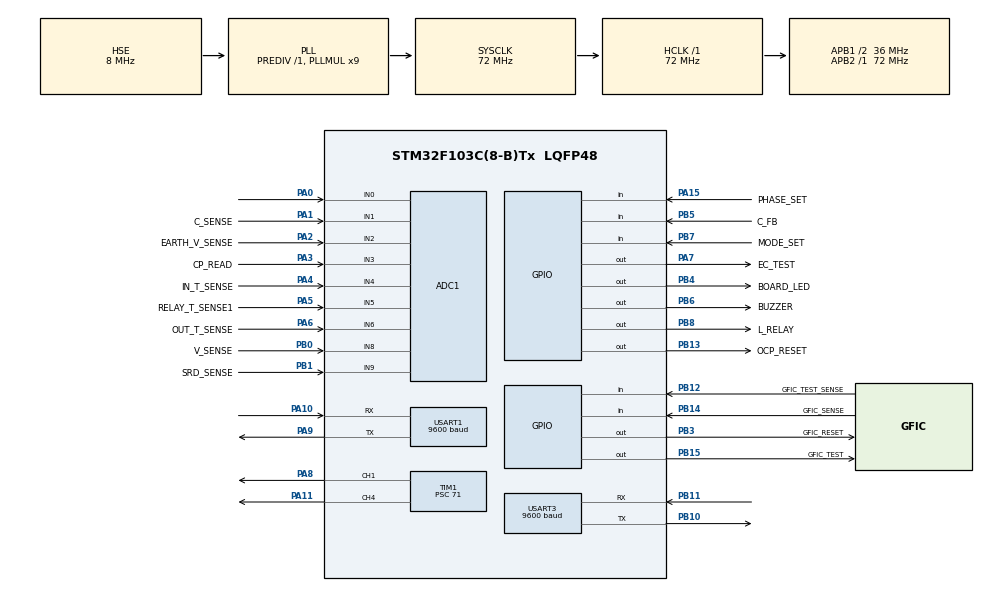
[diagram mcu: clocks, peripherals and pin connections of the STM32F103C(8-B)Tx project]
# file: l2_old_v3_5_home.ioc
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ADC1.Channel-10\#ChannelRegularConversion=ADC_CHANNEL_0
ADC1.Channel-12\#ChannelRegularConversion=ADC_CHANNEL_1
ADC1.Channel-13\#ChannelRegularConversion=ADC_CHANNEL_2
ADC1.Channel-14\#ChannelRegularConversion=ADC_CHANNEL_3
ADC1.Channel-15\#ChannelRegularConversion=ADC_CHANNEL_4
ADC1.Channel-16\#ChannelRegularConversion=ADC_CHANNEL_5
ADC1.Channel-17\#ChannelRegularConversion=ADC_CHANNEL_6
ADC1.Channel-18\#ChannelRegularConversion=ADC_CHANNEL_8
ADC1.Channel-19\#ChannelRegularConversion=ADC_CHANNEL_8
ADC1.Channel-20\#ChannelRegularConversion=ADC_CHANNEL_TEMPSENSOR
ADC1.Channel-21\#ChannelRegularConversion=ADC_CHANNEL_VREFINT
ADC1.ContinuousConvMode=ENABLE
ADC1.DataAlign=ADC_DATAALIGN_RIGHT
ADC1.EnableInjectedConversion=DISABLE
ADC1.ExternalTrigConv=ADC_SOFTWARE_START
ADC1.InjNumberOfConversion=1
ADC1.NbrOfConversion=11
ADC1.NbrOfConversionFlag=1
ADC1.Rank-10\#ChannelRegularConversion=1
ADC1.Rank-12\#ChannelRegularConversion=2
ADC1.Rank-13\#ChannelRegularConversion=3
ADC1.Rank-14\#ChannelRegularConversion=4
ADC1.Rank-15\#ChannelRegularConversion=5
ADC1.Rank-16\#ChannelRegularConversion=6
ADC1.Rank-17\#ChannelRegularConversion=7
ADC1.Rank-18\#ChannelRegularConversion=8
ADC1.Rank-19\#ChannelRegularConversion=9
ADC1.Rank-20\#ChannelRegularConversion=10
ADC1.Rank-21\#ChannelRegularConversion=11
ADC1.SamplingTime-10\#ChannelRegularConversion=ADC_SAMPLETIME_7CYCLES_5
ADC1.SamplingTime-12\#ChannelRegularConversion=ADC_SAMPLETIME_7CYCLES_5
ADC1.SamplingTime-13\#ChannelRegularConversion=ADC_SAMPLETIME_7CYCLES_5
ADC1.SamplingTime-14\#ChannelRegularConversion=ADC_SAMPLETIME_7CYCLES_5
ADC1.SamplingTime-15\#ChannelRegularConversion=ADC_SAMPLETIME_7CYCLES_5
ADC1.SamplingTime-16\#ChannelRegularConversion=ADC_SAMPLETIME_7CYCLES_5
ADC1.SamplingTime-17\#ChannelRegularConversion=ADC_SAMPLETIME_7CYCLES_5
ADC1.SamplingTime-18\#ChannelRegularConversion=ADC_SAMPLETIME_7CYCLES_5
ADC1.SamplingTime-19\#ChannelRegularConversion=ADC_SAMPLETIME_7CYCLES_5
ADC1.SamplingTime-20\#ChannelRegularConversion=ADC_SAMPLETIME_7CYCLES_5
ADC1.SamplingTime-21\#ChannelRegularConversion=ADC_SAMPLETIME_239CYCLES_5
ADC1.master=1
Dma.ADC1.0.Direction=DMA_PERIPH_TO_MEMORY
Dma.ADC1.0.Instance=DMA1_Channel1
Dma.ADC1.0.MemDataAlignment=DMA_MDATAALIGN_HALFWORD
Dma.ADC1.0.MemInc=DMA_MINC_ENABLE
Dma.ADC1.0.Mode=DMA_CIRCULAR
Dma.ADC1.0.PeriphDataAlignment=DMA_PDATAALIGN_HALFWORD
Dma.ADC1.0.PeriphInc=DMA_PINC_DISABLE
Dma.ADC1.0.Priority=DMA_PRIORITY_VERY_HIGH
Dma.Request0=ADC1
Dma.Request1=USART1_TX
Dma.USART1_TX.1.Direction=DMA_MEMORY_TO_PERIPH
Dma.USART1_TX.1.Instance=DMA1_Channel4
Dma.USART1_TX.1.MemDataAlignment=DMA_MDATAALIGN_BYTE
Dma.USART1_TX.1.MemInc=DMA_MINC_ENABLE
Dma.USART1_TX.1.Mode=DMA_NORMAL
Dma.USART1_TX.1.PeriphDataAlignment=DMA_PDATAALIGN_BYTE
Dma.USART1_TX.1.PeriphInc=DMA_PINC_DISABLE
Dma.USART1_TX.1.Priority=DMA_PRIORITY_MEDIUM
IWDG.Prescaler=IWDG_PRESCALER_64
IWDG.Reload=4094
Mcu.Family=STM32F1
Mcu.Name=STM32F103C(8-B)Tx
Mcu.Package=LQFP48
NVIC.ADC1_2_IRQn=true\:0\:0\:false\:false\:true\:true\:true\:true
NVIC.DMA1_Channel1_IRQn=true\:1\:0\:true\:false\:true\:false\:true\:true
NVIC.DMA1_Channel4_IRQn=true\:0\:0\:false\:false\:true\:false\:true\:true
NVIC.PriorityGroup=NVIC_PRIORITYGROUP_4
NVIC.TIM3_IRQn=true\:1\:0\:true\:false\:true\:true\:true\:true
NVIC.USART1_IRQn=true\:0\:0\:false\:false\:true\:true\:true\:true
NVIC.USART3_IRQn=true\:0\:0\:false\:false\:true\:true\:true\:true
PA0-WKUP.Signal=ADCx_IN0
PA1.GPIO_Label=C_SENSE
PA1.Signal=ADCx_IN1
PA10.Mode=Asynchronous
PA10.Signal=USART1_RX
PA11.Signal=S_TIM1_CH4
PA13.Mode=Serial_Wire
PA13.Signal=SYS_JTMS-SWDIO
PA14.Mode=Serial_Wire
PA14.Signal=SYS_JTCK-SWCLK
PA15.GPIO_Label=PHASE_SET
PA15.Signal=GPIO_Input
PA2.GPIO_Label=EARTH_V_SENSE
PA2.Signal=ADCx_IN2
PA3.GPIO_Label=CP_READ
PA3.Signal=ADCx_IN3
PA4.GPIO_Label=IN_T_SENSE
PA4.Signal=ADCx_IN4
PA5.GPIO_Label=RELAY_T_SENSE1
PA5.Signal=ADCx_IN5
PA6.GPIO_Label=OUT_T_SENSE
PA6.Signal=ADCx_IN6
PA7.GPIO_Label=EC_TEST
PA7.Signal=GPIO_Output
PA8.Signal=S_TIM1_CH1
PA9.Mode=Asynchronous
PA9.Signal=USART1_TX
PB0.GPIO_Label=V_SENSE
PB0.Signal=ADCx_IN8
PB1.GPIO_Label=SRD_SENSE
PB1.Signal=ADCx_IN9
PB10.Mode=Asynchronous
PB10.Signal=USART3_TX
PB11.Mode=Asynchronous
PB11.Signal=USART3_RX
PB12.GPIO_Label=GFIC_TEST_SENSE
PB12.Signal=GPIO_Input
PB13.GPIO_Label=OCP_RESET
PB13.Signal=GPIO_Output
PB14.GPIO_Label=GFIC_SENSE
PB14.Signal=GPIO_Input
PB15.GPIO_Label=GFIC_TEST
PB15.Signal=GPIO_Output
PB3.GPIO_Label=GFIC_RESET
PB3.Signal=GPIO_Output
PB4.GPIO_Label=BOARD_LED
PB4.Signal=GPIO_Output
PB5.GPIO_Label=C_FB
PB5.Signal=GPIO_Input
PB6.GPIO_Label=BUZZER
PB6.Signal=GPIO_Output
PB7.GPIO_Label=MODE_SET
PB7.Signal=GPIO_Input
PB8.GPIO_Label=L_RELAY
PB8.Signal=GPIO_Output
PD0-OSC_IN.Mode=HSE-External-Oscillator
PD0-OSC_IN.Signal=RCC_OSC_IN
PD1-OSC_OUT.Mode=HSE-External-Oscillator
PD1-OSC_OUT.Signal=RCC_OSC_OUT
ProjectManager.HeapSize=0x200
ProjectManager.StackSize=0x400
ProjectManager.TargetToolchain=STM32CubeIDE
RCC.ADCPresc=RCC_ADCPCLK2_DIV6
RCC.AHBFreq_Value=72000000
RCC.APB1CLKDivider=RCC_HCLK_DIV2
RCC.APB1Freq_Value=36000000
RCC.APB1TimFreq_Value=72000000
RCC.APB2Freq_Value=72000000
RCC.APB2TimFreq_Value=72000000
RCC.HCLKFreq_Value=72000000
RCC.HSE_Timout=5000
RCC.HSICalibrationValue=24
RCC.PLLMUL=RCC_PLL_MUL9
RCC.PLLSourceVirtual=RCC_PLLSOURCE_HSE
RCC.SYSCLKFreq_VALUE=72000000
RCC.SYSCLKSource=RCC_SYSCLKSOURCE_PLLCLK
RCC.USBFreq_Value=72000000
SH.ADCx_IN0.0=ADC1_IN0,IN0
SH.ADCx_IN1.0=ADC1_IN1,IN1
SH.ADCx_IN2.0=ADC1_IN2,IN2
SH.ADCx_IN3.0=ADC1_IN3,IN3
SH.ADCx_IN4.0=ADC1_IN4,IN4
SH.ADCx_IN5.0=ADC1_IN5,IN5
SH.ADCx_IN6.0=ADC1_IN6,IN6
SH.ADCx_IN8.0=ADC1_IN8,IN8
SH.ADCx_IN9.0=ADC1_IN9,IN9
SH.S_TIM1_CH1.0=TIM1_CH1,PWM Generation1 CH1
SH.S_TIM1_CH4.0=TIM1_CH4,PWM Generation4 CH4
TIM1.AutoReloadPreload=TIM_AUTORELOAD_PRELOAD_ENABLE
TIM1.Channel-PWM\ Generation1\ CH1=TIM_CHANNEL_1
TIM1.Channel-PWM\ Generation4\ CH4=TIM_CHANNEL_4
TIM1.Period=999
TIM1.Prescaler=71
TIM3.AutoReloadPreload=TIM_AUTORELOAD_PRELOAD_ENABLE
TIM3.Period=71
TIM3.Prescaler=500
USART1.BaudRate=9600
USART1.Parity=PARITY_EVEN
USART1.VirtualMode=VM_ASYNC
USART1.WordLength=WORDLENGTH_9B
USART3.BaudRate=9600
USART3.VirtualMode=VM_ASYNC
VP_ADC1_TempSens_Input.Mode=IN-TempSens
VP_ADC1_Vref_Input.Mode=IN-Vrefint
VP_IWDG_VS_IWDG.Mode=IWDG_Activate
VP_RTC_VS_RTC_Activate.Mode=RTC_Enabled
VP_RTC_VS_RTC_Calendar.Mode=RTC_Calendar
VP_TIM3_VS_ClockSourceINT.Mode=Internal
board=custom

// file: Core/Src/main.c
/* USER CODE BEGIN Header */
/**
 ******************************************************************************
 * @file           : main.c
 * @brief          : Main program body
 ******************************************************************************
 * @attention
 *
 * Copyright (c) 2022 STMicroelectronics.
 * All rights reserved.
 *
 * This software is licensed under terms that can be found in the LICENSE file
 * in the root directory of this software component.
 * If no LICENSE file comes with this software, it is provided AS-IS.
 *
 ******************************************************************************
 */
/* USER CODE END Header */
#include "main.h"

/* USER CODE BEGIN Includes */
#include "stdio.h"
#include "math.h"
/* USER CODE END Includes */

ADC_HandleTypeDef hadc1;
DMA_HandleTypeDef hdma_adc1;

IWDG_HandleTypeDef hiwdg;

RTC_HandleTypeDef hrtc;

TIM_HandleTypeDef htim1;
TIM_HandleTypeDef htim3;

UART_HandleTypeDef huart1;
UART_HandleTypeDef huart3;
DMA_HandleTypeDef hdma_usart1_tx;

/* USER CODE BEGIN PV */
uint16_t debug_count = 0;
bool watchdog_active = false;
/* USER CODE END PV */

void SystemClock_Config(void);
static void MX_GPIO_Init(void);
static void MX_DMA_Init(void);
static void MX_ADC1_Init(void);
static void MX_TIM1_Init(void);
static void MX_TIM3_Init(void);
static void MX_USART1_UART_Init(void);
static void MX_IWDG_Init(void);
static void MX_USART3_UART_Init(void);
static void MX_RTC_Init(void);
/* USER CODE BEGIN PFP */
void voltage_measure();
void voltage_l1(void);
void adc_calibret(void);
void run_led(void);
void SetRTC(void);

void transmitSerial(void);
bool cp_calibrate = false;

volatile char serialRxPort1 = 0;
static volatile int32_t serialPort1TxCount = 0;
static volatile uint32_t serialPort1RxCount = 0;

volatile char serialRxPort2 = 0;
static volatile int32_t serialPort2TxCount = 0;
static volatile uint32_t serialPort2RxCount = 0;

/* USER CODE END PFP */

int main(void)
{

	/* MCU Configuration--------------------------------------------------------*/

	/* Reset of all peripherals, Initializes the Flash interface and the Systick. */
	HAL_Init();

	/* Configure the system clock */
	SystemClock_Config();

	/* Initialize all configured peripherals */
	MX_GPIO_Init();
	MX_DMA_Init();
	MX_ADC1_Init();
	MX_TIM1_Init();
	MX_TIM3_Init();
	MX_USART1_UART_Init();
//  MX_IWDG_Init();
	MX_USART3_UART_Init();
//  MX_RTC_Init();
	/* USER CODE BEGIN 2 */

	/*---------------------------------------------------
	 Initialization function
	 ---------------------------------------------------*/
	HAL_TIM_Base_Start_IT(&htim3);
	HAL_TIM_PWM_Start(&htim1, TIM_CHANNEL_1);
	HAL_TIM_PWM_Start(&htim1, TIM_CHANNEL_4);
	HAL_ADCEx_Calibration_Start(&hadc1);
	HAL_ADC_Start_DMA(&hadc1, (uint32_t*) adc_store, 11);
	HAL_UART_Receive_IT(&huart1, (uint8_t*) &serialRxPort2, 1);

#if RTC_ACTIVE
	MX_RTC_Init();
	initRTC();
#endif

	init_dataStructures();

	/*---------------------------------------------------
	 Get HW version
	 ---------------------------------------------------*/
	get_HWVersion();

	/*---------------------------------------------------
	 calibrate CP values
	 ---------------------------------------------------*/
	calibrateCP(0);
//	cp_map(1);
	cp_calibrate = true;

	/*---------------------------------------------------
	 Reset GFI sensor
	 ---------------------------------------------------*/
	GFIC_RESET_ON();
	HAL_Delay(100);
	GFIC_RESET_OFF();

	buzzer_en = true;
	run_GFITest = true;
	/* USER CODE END 2 */

	/* Infinite loop */
	/* USER CODE BEGIN WHILE */
	/*---------------------------------------------------
	 Initialize serial peripheral and Modbus peripheral
	 ---------------------------------------------------*/
	CSMS_Init();
	ModbusRTU_Init();

	tick_clear(&timeout);
	tick_clear(&gfi_test);
	tick_clear(&rtc_checkCounter);
	tick_clear(&rtc_updateCounter);
	tick_clear(&load_balance6s);
	tick_clear(&error_handler);
	/* USER CODE END 2 */

	/* Infinite loop */
	/* USER CODE BEGIN WHILE */
	while (1)
	{
		/*---------------------------------------------------
		 Charger init check
		 ---------------------------------------------------*/
		if (charger_init_flag == false)
		{
			/*---------------------------------------------------
			 Vehicle check functions
			 ---------------------------------------------------*/
			bootup_vehicleCheck();

			if ((networkSide_bootup == true)		//Serial check
					&& (bootup_timeUpdate == true)			//RTC check
					&& ((timeout.timeout_30s == true) || (emeter_bootup == true)))//Modbus check
			{
				charger_init_flag = true;
			}
		}

		if (charger_setup_flag == false)
		{
			get_chargerConfig();
			charger_setup_flag = true;
		}

		if (charger_configSet.config_enable == true)
		{
			set_chargerConfig();
			charger_configSet.config_enable = false;
			HAL_Delay(100);
			HAL_NVIC_SystemReset();
		}

		if (charger_configSet.config_counter == 10)
		{

		}

		/*---------------------------------------------------
		 Vehicle connector function
		 ---------------------------------------------------*/
		check_vehicleConnector();
		check_PWMActive();

		/*---------------------------------------------------
		 Power side monitoring functions
		 ---------------------------------------------------*/
		//		gfci_sense();
		if (gfic_test_run && (!stuck_relay_test))
		{
			//			GFCI_test();
		}
		else
		{
			if ((powerSide_data.errorStatus.bit.error_SR_C == 1)
					|| (powerSide_data.errorStatus.bit.error_GFI_test == 1))
			{
				powerSide_data.status.bit.powerSide_ready = 0;
			}
			else
			{
				powerSide_data.status.bit.powerSide_ready = 1;
			}

			if (controlSide_data.networkSide_request.bit.vehicle_Check == 1)
			{
				powerSide_data.status.bit.powerSide_ready = 1; //when the power restore
			}
		}

		/*---------------------------------------------------
		 Diode check function
		 ---------------------------------------------------*/
#if DIODE_CHECK
		if (timeout.timeout_0_5s == true)
		{
			diodeCheck();
		}
#else
		diodeCheck_passed = true;
#endif
		/*---------------------------------------------------
		 Error logger
		 ---------------------------------------------------*/
		errorBuffer_log();
		errorBuffer_report();

		/*---------------------------------------------------
		 Energy meter reading functions
		 ---------------------------------------------------*/
		ModbusRTU_functions();
		get_EnergyMeterData();

		/*---------------------------------------------------
		 Serial CRC calculation and filter functions
		 ---------------------------------------------------*/
#if SERIAL_ACTIVE
		if (charger_init_flag == true)
		{
			CSMS_functions();
		}

		transmitSerial();
#endif
		/*---------------------------------------------------
		 RTC functions
		 ---------------------------------------------------*/
#if RTC_ACTIVE
		//---------------------------------------------------- Update time at boot up
		if ((bootup_timeUpdate == false)
		/*&& (networkSide_data.timeReady == 1)*/)
		{
			bootup_timeUpdate = true;
			get_date();
			HAL_RTC_GetTime(&hrtc, &RtcTime, RTC_FORMAT_BIN);
			HAL_RTC_GetDate(&hrtc, &RtcDate, RTC_FORMAT_BIN);

			uint32_t unix_time_set = RTC_ToEpoch(&RtcTime, &RtcDate);
			HAL_RTCEx_BKUPWrite(&hrtc, RTC_BKP_DR1, (unix_time_set & 0xFFFF));
			HAL_RTCEx_BKUPWrite(&hrtc, RTC_BKP_DR2, (unix_time_set >> 16));
		}

		//---------------------------------------------------- Update alarms
		if (networkSide_data.alarmUpdate == 1)
		{
			updateAlarm();
		}
		//---------------------------------------------------- Alarm check
		if (rtc_checkCounter.timeout_10s == true)
		{
			tick_clear(&rtc_checkCounter);
			if ((networkSide_data.isInternet_available == 1)
					&& (networkSide_data.timeReady == 1))
			{
//				RtcTime.Hours = networkSide_data.setTime.Hours;
//				RtcTime.Minutes = networkSide_data.setTime.Minutes;
//				RtcDate.Date = networkSide_data.setDate.Date;
//				RtcDate.Month = networkSide_data.setDate.Month;
//				RtcDate.Year = networkSide_data.setDate.Year;
				updateRTC();
				updateAlarm();
			}
			else
			{
				HAL_RTC_GetTime(&hrtc, &RtcTime, RTC_FORMAT_BIN);
				HAL_RTC_GetDate(&hrtc, &RtcDate, RTC_FORMAT_BIN);

				uint32_t unix_time_set = RTC_ToEpoch(&RtcTime, &RtcDate);
				HAL_RTCEx_BKUPWrite(&hrtc, RTC_BKP_DR1,
						(unix_time_set & 0xFFFF));
				HAL_RTCEx_BKUPWrite(&hrtc, RTC_BKP_DR2, (unix_time_set >> 16));

				updateAlarm();
			}

			checkWeekday_Time();

			if (controlSide_data.networkSide_request.bit.rtcUpdateComplete
					== true)
			{
				controlSide_data.networkSide_request.bit.rtcUpdateComplete =
				false;
			}
			if (controlSide_data.networkSide_request.bit.rtcUpdateAlarmComplete
					== true)
			{
				controlSide_data.networkSide_request.bit.rtcUpdateAlarmComplete =
				false;
			}
		}
#else
		bootup_timeUpdate = true;
#endif

		/*---------------------------------------------------
		 Debug LED run function - added to debug serial error
		 ---------------------------------------------------*/
		debug_count++;
		if (debug_count >= 6000)
		{
			debug_count = 0;
			HAL_GPIO_TogglePin(BOARD_LED_GPIO_Port, BOARD_LED_Pin);
			temperature_NTC();
		}

		/*---------------------------------------------------
		 Energy meter reading functions
		 ---------------------------------------------------*/
		get_EnergyMeterData();

		/*---------------------------------------------------
		 Energy calculation functions
		 ---------------------------------------------------*/
		calculate_Energy();

		/*---------------------------------------------------
		 Watchdog function
		 ---------------------------------------------------*/
#if WATCHDOG_ENABLE
		if (watchdog_active == false)
		{
			watchdog_active = true;
			MX_IWDG_Init();
		}

		HAL_IWDG_Refresh(&hiwdg);
#endif
		/*---------------------------------------------------
		 Buzzer function
		 ---------------------------------------------------*/
		if (buzzer_en == true)
		{
			buzzer_en = false;
			buzzer_on();
		}
#if ERROR_ALARM
		errorAlarm_set();
		errorAlarm_sound();
#endif

		/*---------------------------------------------------
		 OTA Update
		 ---------------------------------------------------*/
		if (OTA_flag == true)
		{
			OTA_flag = false;
			Flag_up();
		}

		/* USER CODE END WHILE */

	}
}

void SystemClock_Config(void)
{
	RCC_OscInitTypeDef RCC_OscInitStruct =
	{ 0 };
	RCC_ClkInitTypeDef RCC_ClkInitStruct =
	{ 0 };
	RCC_PeriphCLKInitTypeDef PeriphClkInit =
	{ 0 };

	/** Initializes the RCC Oscillators according to the specified parameters
	 * in the RCC_OscInitTypeDef structure.
	 */
	RCC_OscInitStruct.OscillatorType = RCC_OSCILLATORTYPE_LSI
			| RCC_OSCILLATORTYPE_HSE;
	RCC_OscInitStruct.HSEState = RCC_HSE_ON;
	RCC_OscInitStruct.HSEPredivValue = RCC_HSE_PREDIV_DIV1;
	RCC_OscInitStruct.HSIState = RCC_HSI_ON;
	RCC_OscInitStruct.LSIState = RCC_LSI_ON;
	RCC_OscInitStruct.PLL.PLLState = RCC_PLL_ON;
	RCC_OscInitStruct.PLL.PLLSource = RCC_PLLSOURCE_HSE;
	RCC_OscInitStruct.PLL.PLLMUL = RCC_PLL_MUL9;
	if (HAL_RCC_OscConfig(&RCC_OscInitStruct) != HAL_OK)
	{
		Error_Handler();
	}

	/** Initializes the CPU, AHB and APB buses clocks
	 */
	RCC_ClkInitStruct.ClockType = RCC_CLOCKTYPE_HCLK | RCC_CLOCKTYPE_SYSCLK
			| RCC_CLOCKTYPE_PCLK1 | RCC_CLOCKTYPE_PCLK2;
	RCC_ClkInitStruct.SYSCLKSource = RCC_SYSCLKSOURCE_PLLCLK;
	RCC_ClkInitStruct.AHBCLKDivider = RCC_SYSCLK_DIV1;
	RCC_ClkInitStruct.APB1CLKDivider = RCC_HCLK_DIV2;
	RCC_ClkInitStruct.APB2CLKDivider = RCC_HCLK_DIV1;

	if (HAL_RCC_ClockConfig(&RCC_ClkInitStruct, FLASH_LATENCY_2) != HAL_OK)
	{
		Error_Handler();
	}
	PeriphClkInit.PeriphClockSelection = RCC_PERIPHCLK_RTC | RCC_PERIPHCLK_ADC;
	PeriphClkInit.RTCClockSelection = RCC_RTCCLKSOURCE_LSI;
	PeriphClkInit.AdcClockSelection = RCC_ADCPCLK2_DIV6;
	if (HAL_RCCEx_PeriphCLKConfig(&PeriphClkInit) != HAL_OK)
	{
		Error_Handler();
	}
}

static void MX_ADC1_Init(void)
{

	ADC_ChannelConfTypeDef sConfig =
	{ 0 };

	/** Common config
	 */
	hadc1.Instance = ADC1;
	hadc1.Init.ScanConvMode = ADC_SCAN_ENABLE;
	hadc1.Init.ContinuousConvMode = ENABLE;
	hadc1.Init.DiscontinuousConvMode = DISABLE;
	hadc1.Init.ExternalTrigConv = ADC_SOFTWARE_START;
	hadc1.Init.DataAlign = ADC_DATAALIGN_RIGHT;
	hadc1.Init.NbrOfConversion = 11;
	if (HAL_ADC_Init(&hadc1) != HAL_OK)
	{
		Error_Handler();
	}

	/** Configure Regular Channel
	 */
	sConfig.Channel = ADC_CHANNEL_0;
	sConfig.Rank = ADC_REGULAR_RANK_1;
	sConfig.SamplingTime = ADC_SAMPLETIME_7CYCLES_5;
	if (HAL_ADC_ConfigChannel(&hadc1, &sConfig) != HAL_OK)
	{
		Error_Handler();
	}

	/** Configure Regular Channel
	 */
	sConfig.Channel = ADC_CHANNEL_1;
	sConfig.Rank = ADC_REGULAR_RANK_2;
	if (HAL_ADC_ConfigChannel(&hadc1, &sConfig) != HAL_OK)
	{
		Error_Handler();
	}

	/** Configure Regular Channel
	 */
	sConfig.Channel = ADC_CHANNEL_2;
	sConfig.Rank = ADC_REGULAR_RANK_3;
	if (HAL_ADC_ConfigChannel(&hadc1, &sConfig) != HAL_OK)
	{
		Error_Handler();
	}

	/** Configure Regular Channel
	 */
	sConfig.Channel = ADC_CHANNEL_3;
	sConfig.Rank = ADC_REGULAR_RANK_4;
	if (HAL_ADC_ConfigChannel(&hadc1, &sConfig) != HAL_OK)
	{
		Error_Handler();
	}

	/** Configure Regular Channel
	 */
	sConfig.Channel = ADC_CHANNEL_4;
	sConfig.Rank = ADC_REGULAR_RANK_5;
	if (HAL_ADC_ConfigChannel(&hadc1, &sConfig) != HAL_OK)
	{
		Error_Handler();
	}

	/** Configure Regular Channel
	 */
	sConfig.Channel = ADC_CHANNEL_5;
	sConfig.Rank = ADC_REGULAR_RANK_6;
	if (HAL_ADC_ConfigChannel(&hadc1, &sConfig) != HAL_OK)
	{
		Error_Handler();
	}

	/** Configure Regular Channel
	 */
	sConfig.Channel = ADC_CHANNEL_6;
	sConfig.Rank = ADC_REGULAR_RANK_7;
	if (HAL_ADC_ConfigChannel(&hadc1, &sConfig) != HAL_OK)
	{
		Error_Handler();
	}

	/** Configure Regular Channel
	 */
	sConfig.Channel = ADC_CHANNEL_8;
	sConfig.Rank = ADC_REGULAR_RANK_8;
	if (HAL_ADC_ConfigChannel(&hadc1, &sConfig) != HAL_OK)
	{
		Error_Handler();
	}

	/** Configure Regular Channel
	 */
	sConfig.Rank = ADC_REGULAR_RANK_9;
	if (HAL_ADC_ConfigChannel(&hadc1, &sConfig) != HAL_OK)
	{
		Error_Handler();
	}

	/** Configure Regular Channel
	 */
	sConfig.Channel = ADC_CHANNEL_TEMPSENSOR;
	sConfig.Rank = ADC_REGULAR_RANK_10;
	if (HAL_ADC_ConfigChannel(&hadc1, &sConfig) != HAL_OK)
	{
		Error_Handler();
	}

	/** Configure Regular Channel
	 */
	sConfig.Channel = ADC_CHANNEL_VREFINT;
	sConfig.Rank = ADC_REGULAR_RANK_11;
	sConfig.SamplingTime = ADC_SAMPLETIME_239CYCLES_5;
	if (HAL_ADC_ConfigChannel(&hadc1, &sConfig) != HAL_OK)
	{
		Error_Handler();
	}

}

static void MX_IWDG_Init(void)
{

	hiwdg.Instance = IWDG;
	hiwdg.Init.Prescaler = IWDG_PRESCALER_64;
	hiwdg.Init.Reload = 4094;
	if (HAL_IWDG_Init(&hiwdg) != HAL_OK)
	{
		Error_Handler();
	}

}

static void MX_RTC_Init(void)
{

	RTC_TimeTypeDef sTime =
	{ 0 };
	RTC_DateTypeDef DateToUpdate =
	{ 0 };

	/** Initialize RTC Only
	 */
	hrtc.Instance = RTC;
	hrtc.Init.AsynchPrediv = RTC_AUTO_1_SECOND;
	hrtc.Init.OutPut = RTC_OUTPUTSOURCE_ALARM;
	if (HAL_RTC_Init(&hrtc) != HAL_OK)
	{
		Error_Handler();
	}

	/** Initialize RTC and set the Time and Date
	 */
	sTime.Hours = 0x0;
	sTime.Minutes = 0x0;
	sTime.Seconds = 0x0;

	if (HAL_RTC_SetTime(&hrtc, &sTime, RTC_FORMAT_BCD) != HAL_OK)
	{
		Error_Handler();
	}
	DateToUpdate.WeekDay = RTC_WEEKDAY_MONDAY;
	DateToUpdate.Month = RTC_MONTH_JANUARY;
	DateToUpdate.Date = 0x1;
	DateToUpdate.Year = 0x0;

	if (HAL_RTC_SetDate(&hrtc, &DateToUpdate, RTC_FORMAT_BCD) != HAL_OK)
	{
		Error_Handler();
	}

}

static void MX_TIM1_Init(void)
{

	TIM_MasterConfigTypeDef sMasterConfig =
	{ 0 };
	TIM_OC_InitTypeDef sConfigOC =
	{ 0 };
	TIM_BreakDeadTimeConfigTypeDef sBreakDeadTimeConfig =
	{ 0 };

	htim1.Instance = TIM1;
	htim1.Init.Prescaler = 71;
	htim1.Init.CounterMode = TIM_COUNTERMODE_UP;
	htim1.Init.Period = 999;
	htim1.Init.ClockDivision = TIM_CLOCKDIVISION_DIV1;
	htim1.Init.RepetitionCounter = 0;
	htim1.Init.AutoReloadPreload = TIM_AUTORELOAD_PRELOAD_ENABLE;
	if (HAL_TIM_PWM_Init(&htim1) != HAL_OK)
	{
		Error_Handler();
	}
	sMasterConfig.MasterOutputTrigger = TIM_TRGO_RESET;
	sMasterConfig.MasterSlaveMode = TIM_MASTERSLAVEMODE_DISABLE;
	if (HAL_TIMEx_MasterConfigSynchronization(&htim1, &sMasterConfig) != HAL_OK)
	{
		Error_Handler();
	}
	sConfigOC.OCMode = TIM_OCMODE_PWM1;
	sConfigOC.Pulse = 0;
	sConfigOC.OCPolarity = TIM_OCPOLARITY_HIGH;
	sConfigOC.OCNPolarity = TIM_OCNPOLARITY_HIGH;
	sConfigOC.OCFastMode = TIM_OCFAST_DISABLE;
	sConfigOC.OCIdleState = TIM_OCIDLESTATE_RESET;
	sConfigOC.OCNIdleState = TIM_OCNIDLESTATE_RESET;
	if (HAL_TIM_PWM_ConfigChannel(&htim1, &sConfigOC, TIM_CHANNEL_1) != HAL_OK)
	{
		Error_Handler();
	}
	if (HAL_TIM_PWM_ConfigChannel(&htim1, &sConfigOC, TIM_CHANNEL_4) != HAL_OK)
	{
		Error_Handler();
	}
	sBreakDeadTimeConfig.OffStateRunMode = TIM_OSSR_DISABLE;
	sBreakDeadTimeConfig.OffStateIDLEMode = TIM_OSSI_DISABLE;
	sBreakDeadTimeConfig.LockLevel = TIM_LOCKLEVEL_OFF;
	sBreakDeadTimeConfig.DeadTime = 0;
	sBreakDeadTimeConfig.BreakState = TIM_BREAK_DISABLE;
	sBreakDeadTimeConfig.BreakPolarity = TIM_BREAKPOLARITY_HIGH;
	sBreakDeadTimeConfig.AutomaticOutput = TIM_AUTOMATICOUTPUT_DISABLE;
	if (HAL_TIMEx_ConfigBreakDeadTime(&htim1, &sBreakDeadTimeConfig) != HAL_OK)
	{
		Error_Handler();
	}
	HAL_TIM_MspPostInit(&htim1);

}

static void MX_TIM3_Init(void)
{

	TIM_ClockConfigTypeDef sClockSourceConfig =
	{ 0 };
	TIM_MasterConfigTypeDef sMasterConfig =
	{ 0 };

	htim3.Instance = TIM3;
	htim3.Init.Prescaler = 500;
	htim3.Init.CounterMode = TIM_COUNTERMODE_UP;
	htim3.Init.Period = 71;
	htim3.Init.ClockDivision = TIM_CLOCKDIVISION_DIV1;
	htim3.Init.AutoReloadPreload = TIM_AUTORELOAD_PRELOAD_ENABLE;
	if (HAL_TIM_Base_Init(&htim3) != HAL_OK)
	{
		Error_Handler();
	}
	sClockSourceConfig.ClockSource = TIM_CLOCKSOURCE_INTERNAL;
	if (HAL_TIM_ConfigClockSource(&htim3, &sClockSourceConfig) != HAL_OK)
	{
		Error_Handler();
	}
	sMasterConfig.MasterOutputTrigger = TIM_TRGO_RESET;
	sMasterConfig.MasterSlaveMode = TIM_MASTERSLAVEMODE_DISABLE;
	if (HAL_TIMEx_MasterConfigSynchronization(&htim3, &sMasterConfig) != HAL_OK)
	{
		Error_Handler();
	}

}

static void MX_USART1_UART_Init(void)
{

	huart1.Instance = USART1;
	huart1.Init.BaudRate = 9600;
	huart1.Init.WordLength = UART_WORDLENGTH_9B;
	huart1.Init.StopBits = UART_STOPBITS_1;
	huart1.Init.Parity = UART_PARITY_EVEN;
	huart1.Init.Mode = UART_MODE_TX_RX;
	huart1.Init.HwFlowCtl = UART_HWCONTROL_NONE;
	huart1.Init.OverSampling = UART_OVERSAMPLING_16;
	if (HAL_UART_Init(&huart1) != HAL_OK)
	{
		Error_Handler();
	}
	/* USER CODE BEGIN USART1_Init 2 */
	HAL_UART_Receive_IT(&huart1, (uint8_t*) &serialRxPort1, 1); // start uart rx process
	/* USER CODE END USART1_Init 2 */

}

static void MX_USART3_UART_Init(void)
{

	huart3.Instance = USART3;
	huart3.Init.BaudRate = 9600;
	huart3.Init.WordLength = UART_WORDLENGTH_8B;
	huart3.Init.StopBits = UART_STOPBITS_1;
	huart3.Init.Parity = UART_PARITY_NONE;
	huart3.Init.Mode = UART_MODE_TX_RX;
	huart3.Init.HwFlowCtl = UART_HWCONTROL_NONE;
	huart3.Init.OverSampling = UART_OVERSAMPLING_16;
	if (HAL_UART_Init(&huart3) != HAL_OK)
	{
		Error_Handler();
	}
	/* USER CODE BEGIN USART3_Init 2 */
	HAL_UART_Receive_IT(&huart3, (uint8_t*) &serialRxPort2, 1); // start uart rx process
	/* USER CODE END USART3_Init 2 */

}

static void MX_DMA_Init(void)
{

	/* DMA controller clock enable */
	__HAL_RCC_DMA1_CLK_ENABLE();

	/* DMA interrupt init */
	/* DMA1_Channel1_IRQn interrupt configuration */
	HAL_NVIC_SetPriority(DMA1_Channel1_IRQn, 1, 0);
	HAL_NVIC_EnableIRQ(DMA1_Channel1_IRQn);
	/* DMA1_Channel4_IRQn interrupt configuration */
	HAL_NVIC_SetPriority(DMA1_Channel4_IRQn, 0, 0);
	HAL_NVIC_EnableIRQ(DMA1_Channel4_IRQn);

}

static void MX_GPIO_Init(void)
{
	GPIO_InitTypeDef GPIO_InitStruct =
	{ 0 };

	/* GPIO Ports Clock Enable */
	__HAL_RCC_GPIOD_CLK_ENABLE();
	__HAL_RCC_GPIOA_CLK_ENABLE();
	__HAL_RCC_GPIOB_CLK_ENABLE();

	/*Configure GPIO pin Output Level */
	HAL_GPIO_WritePin(EC_TEST_GPIO_Port, EC_TEST_Pin, GPIO_PIN_RESET);

	/*Configure GPIO pin Output Level */
	HAL_GPIO_WritePin(GPIOB,
			OCP_RESET_Pin | GFIC_TEST_Pin | GFIC_RESET_Pin | BOARD_LED_Pin
					| BUZZER_Pin | L_RELAY_Pin, GPIO_PIN_RESET);

	/*Configure GPIO pin : EC_TEST_Pin */
	GPIO_InitStruct.Pin = EC_TEST_Pin;
	GPIO_InitStruct.Mode = GPIO_MODE_OUTPUT_PP;
	GPIO_InitStruct.Pull = GPIO_NOPULL;
	GPIO_InitStruct.Speed = GPIO_SPEED_FREQ_LOW;
	HAL_GPIO_Init(EC_TEST_GPIO_Port, &GPIO_InitStruct);

	/*Configure GPIO pins : GFIC_TEST_SENSE_Pin GFIC_SENSE_Pin C_FB_Pin MODE_SET_Pin */
	GPIO_InitStruct.Pin = GFIC_TEST_SENSE_Pin | GFIC_SENSE_Pin | C_FB_Pin
			| MODE_SET_Pin;
	GPIO_InitStruct.Mode = GPIO_MODE_INPUT;
	GPIO_InitStruct.Pull = GPIO_NOPULL;
	HAL_GPIO_Init(GPIOB, &GPIO_InitStruct);

	/*Configure GPIO pins : OCP_RESET_Pin GFIC_TEST_Pin GFIC_RESET_Pin BOARD_LED_Pin
	 BUZZER_Pin L_RELAY_Pin */
	GPIO_InitStruct.Pin = OCP_RESET_Pin | GFIC_TEST_Pin | GFIC_RESET_Pin
			| BOARD_LED_Pin | BUZZER_Pin | L_RELAY_Pin;
	GPIO_InitStruct.Mode = GPIO_MODE_OUTPUT_PP;
	GPIO_InitStruct.Pull = GPIO_NOPULL;
	GPIO_InitStruct.Speed = GPIO_SPEED_FREQ_LOW;
	HAL_GPIO_Init(GPIOB, &GPIO_InitStruct);

	/*Configure GPIO pin : PHASE_SET_Pin */
	GPIO_InitStruct.Pin = PHASE_SET_Pin;
	GPIO_InitStruct.Mode = GPIO_MODE_INPUT;
	GPIO_InitStruct.Pull = GPIO_NOPULL;
	HAL_GPIO_Init(PHASE_SET_GPIO_Port, &GPIO_InitStruct);

}

/* USER CODE BEGIN 4 */
//################################################################################
//--------------------------------------------------------------------------------
//			Timer interrupt handler	- 500us
//--------------------------------------------------------------------------------
void HAL_TIM_PeriodElapsedCallback(TIM_HandleTypeDef *htim)
{
	if (htim->Instance == TIM3)
	{
		/*---------------------------------------------------
		 Timers count functions
		 ---------------------------------------------------*/
		tick_count(&timeout);
		tick_count(&gfi_test);
		tick_count(&load_balance6s);
		tick_count(&error_handler);
		tick_count(&rtc_checkCounter);

		/*---------------------------------------------------
		 Main state machine function
		 ---------------------------------------------------*/
		check_vehicleConnector();
		get_GPIOFeedback();

		if (charger_init_flag == true)
		{
			load_balance(0);
			monitor_cp();

			/*---------------------------------------------------
			 Error logger
			 ---------------------------------------------------*/
			errorDetector();
			errorHandler();

			sm_control_run();
		}

		/*---------------------------------------------------
		 CP duty set function
		 ---------------------------------------------------*/
		if (cp_calibrate == true)
		{
			setCP_duty();
		}

		static uint8_t CSMS_trigCount = 0;

		CSMS_trigCount++;

		if (CSMS_trigCount > 1) // 500 us adapter
		{
			CSMS_trigCount = 0;
			CSMS_Intick(); // 1ms timer
			ModbusRTU_Intick();
		}
	}
}

//################################################################################
//--------------------------------------------------------------------------------
//			ADC interrupt handler - used to run CP voltage function
//--------------------------------------------------------------------------------

void HAL_ADC_ConvCpltCallback(ADC_HandleTypeDef *hadc)
{
	/* Prevent unused argument(s) compilation warning */
	getCP_voltage();

	VREF = ((1.2 / adc_store[10]) * 4095.0);
	VREF_SUM = VREF_SUM + VREF;
	vref_count++;

	if (vref_count >= 20)
	{
		VREF_AVG = (VREF_SUM / vref_count);
		VREF_SUM = 0.0;
		vref_count = 0;
	}
	/* NOTE : This function should not be modified. When the callback is needed,
	 function HAL_ADC_ConvCpltCallback must be implemented in the user file.
	 */
}

//################################################################################
//--------------------------------------------------------------------------------
//			UART RX interrupt handler - used for MODBUS
//--------------------------------------------------------------------------------

/*----------------------------------------------------------------------------
 * UART Wrappers
 *----------------------------------------------------------------------------*/

static void huart1TransmitIT(uint8_t *pData, uint16_t Length)
{
	UART_HandleTypeDef *huart = &huart1;
	if (HAL_UART_Transmit_IT(huart, pData, Length) == HAL_OK)
	{
		serialPort1TxCount++;
	}
	else
	{
		serialPort1TxCount--;
	}
}

static void huart3TransmitIT(uint8_t *pData, uint16_t Length)
{
	UART_HandleTypeDef *huart = &huart3;
	if (HAL_UART_Transmit_IT(huart, pData, Length) == HAL_OK)
	{
		serialPort2TxCount++;
	}
	else
	{
		serialPort2TxCount--;
	}
}

void transmitSerial(void)
{
	CSMS_transmitSerial(huart1TransmitIT);
	ModbusRTU_transmitSerial(huart3TransmitIT);
}

void HAL_UART_RxCpltCallback(UART_HandleTypeDef *huart)
{
#if SERIAL_ACTIVE
	if (huart == &huart1)
	{
		serialRxPort1 = huart->Instance->DR;

		CSMS_receiveSerial((char*) &serialRxPort1);
		HAL_UART_Receive_IT(&huart1, (uint8_t*) &serialRxPort1, 1);
		serialPort1RxCount++;
	}
#endif
	if (huart == &huart3)
	{
		serialRxPort2 = huart->Instance->DR;

		ModbusRTU_receiveSerial((char*) &serialRxPort2);
		HAL_UART_Receive_IT(&huart3, (uint8_t*) &serialRxPort2, 1);
		serialPort2RxCount++;
	}
}

//################################################################################
//--------------------------------------------------------------------------------
//			UART TX interrupt handler - used for MODBUS
//--------------------------------------------------------------------------------
//void transmitSerialPort1(void)
//{
//	UART_HandleTypeDef *huart = &huart1;
//	if (1)
//	{
////		serialTxFlag = false;
//		static uint8_t instruction = 0;
//
//		if ((CSMS_Queue.ActiveMask & (1 << instruction)) != 0x0) // check whether activation mask not zero
//		{
//			if (HAL_UART_Transmit_IT(huart,
//					(uint8_t*) CSMS_Queue.TxData[instruction],
//					CSMS_Queue.Length[instruction]) == HAL_OK)
//			{
//
//			}
//
//			CSMS_Queue.ActiveMask &= ~(1 << instruction); // reset activation for instruction
//			instruction++; // update instruction starting point
//
//			if ((instruction == CSMS_QUEUE_SIZE)
//					|| (CSMS_Queue.ActiveMask == 0))
//			{
//				instruction = 0;
//			}
//		}
//	}
//}
/* USER CODE END 4 */

void Error_Handler(void)
{
	__disable_irq();
	while (1)
	{
	}
}
